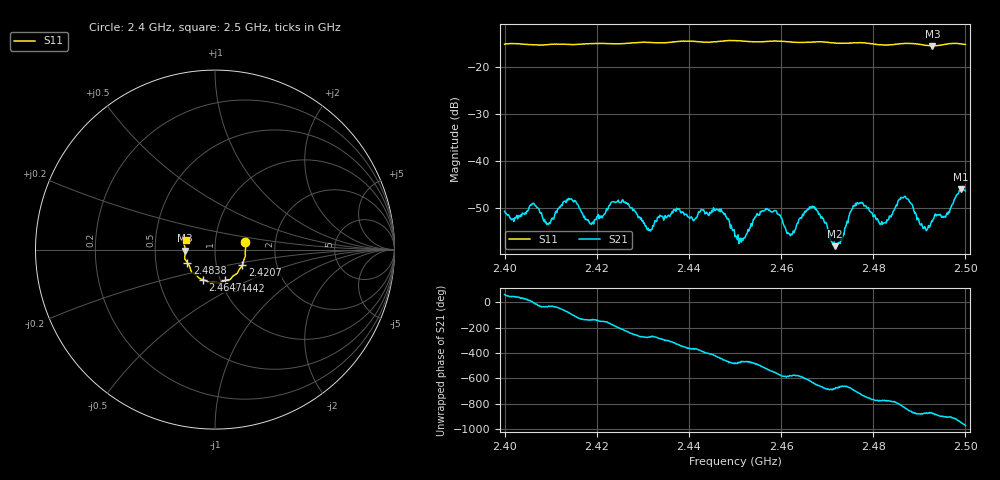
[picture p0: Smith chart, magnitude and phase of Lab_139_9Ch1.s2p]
# Hz S RI R 50
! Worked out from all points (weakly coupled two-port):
!   601 points, 2.4 GHz to 2.5 GHz, reference 50 ohm
!   highest |S21| = -45.98 dB at 2.499 GHz (marker M1); lowest = -58.0 dB at 2.4717 GHz (marker M2)
!   lowest |S11| = -15.6 dB at 2.4928 GHz (marker M3), VSWR 1.40, Z = 35.8 - j0.388 ohm
!   |S11| at or under -10 dB: start of sweep to end of sweep
!   S12 and S22 are empty: the file has one direction only
!   S11 on the Smith chart (normalised r, x): 2.4 GHz: 1.40, +0.12; 2.4207 GHz: 1.33, -0.24; 2.4442 GHz: 1.05, -0.37; 2.4647 GHz: 0.83, -0.29; 2.4838 GHz: 0.73, -0.11; 2.5 GHz: 0.72, +0.08
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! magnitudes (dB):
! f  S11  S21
! 2.4 GHz  -15.3  -50.6
! 2.414 GHz  -15.3  -48.2
! 2.4167 GHz  -15.3  -50.8
! 2.4207 GHz  -15.1  -51.6
! 2.4252 GHz  -15.2  -48.8
! 2.4313 GHz  -14.9  -54.7
! 2.4333 GHz  -15.0  -51.9
! 2.4442 GHz  -14.9  -51.4
! 2.45 GHz  -14.5  -56.0
! 2.4567 GHz  -14.7  -50.0
! 2.4618 GHz  -14.8  -55.4
! 2.4647 GHz  -14.9  -51.3
! 2.4667 GHz  -14.8  -49.9
! 2.4717 GHz  -15.0  -58.0
! 2.4767 GHz  -14.9  -48.9
! 2.4833 GHz  -15.4  -52.4
! 2.4838 GHz  -15.4  -51.9
! 2.4865 GHz  -15.1  -47.8
! 2.4912 GHz  -15.5  -53.9
! 2.4928 GHz  -15.6  -52.8
! 2.499 GHz  -15.2  -46.0
! 2.5 GHz  -15.3  -46.3
